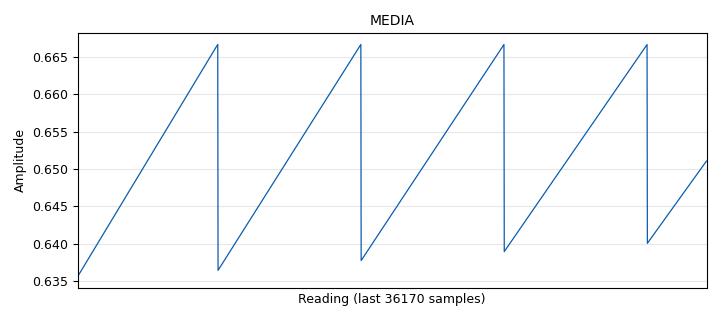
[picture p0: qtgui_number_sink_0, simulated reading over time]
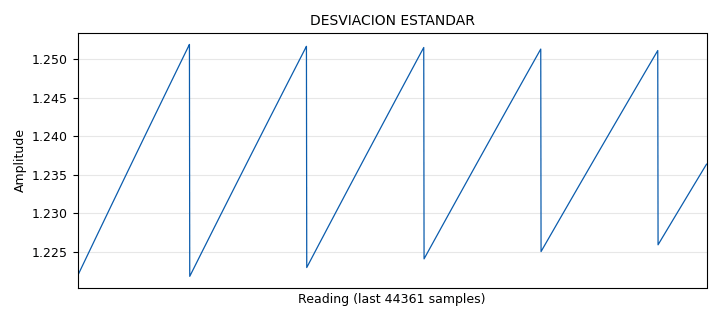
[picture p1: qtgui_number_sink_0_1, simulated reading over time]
options:
  parameters:
    generate_options: qt_gui
    generator_class_name: PythonQtGuiGenerator
    generator_module: gnuradio.grc.workflows.python_qt_gui
    id: ESTADISTICO
    output_language: python
    title: Not titled yet
  states: {}

blocks:
- name: samp_rate
  id: variable
  parameters:
    value: '32000'
  states: {}
- name: blocks_vector_source_x_0
  id: blocks_vector_source_x
  parameters:
    repeat: 'True'
    type: float
    vector: (1, 2, -1)
  states: {}
- name: epy_block_0
  id: epy_block
  parameters:
    _source_code: |
      import numpy as np
      from gnuradio import gr

      class blk(gr.sync_block):
          def __init__(self): # only default arguments here
              gr.sync_block.__init__(
                  self,
                  name='Promedios_de_tiempos', # will show up in GRC
                  in_sig=[np.float32],
                  out_sig=[np.float32, np.float32, np.float32, np.float32, np.float32]
              )
              self.acum_anterior = 0
              self.Ntotales = 0
              self.acum_anterior1 = 0
              self.acum_anterior2 = 0

          def work(self, input_items, output_items):
              x = input_items[0] # Senial de entrada .
              y0 = output_items[0] # Promedio de la senial
              y1 = output_items[1] # Media de la senial
              y2 = output_items[2] # RMS de la senial
              y3 = output_items[3] # Potencia promedio de la senial
              y4 = output_items[4] # Desviacion estandar de la senial

              # Calculo del promedio
              N = len(x)
              self.Ntotales = self.Ntotales + N
              acumulado = self.acum_anterior + np.cumsum(x)
              self.acum_anterior = acumulado[N - 1]
              y0[:] = acumulado / self.Ntotales

              # Calculo de la media cuadratica
              x2 = np.multiply(x, x)
              acumulado1 = self.acum_anterior1 + np.cumsum(x2)
              self.acum_anterior1 = acumulado[N - 1]
              y1[:] = acumulado1 / self.Ntotales

              # Calculo de la RMS
              y2[:] = np.sqrt(y1)

              # Calculo de la potencia promedio
              y3[:] = np.multiply(y2, y2)

              # Calculo de la desviacion estandar
              x3 = np.multiply(x - y0, x - y0)
              acumulado2 = self.acum_anterior2 + np.cumsum(x3)
              self.acum_anterior2 = acumulado2[N - 1]
              y4[:] = np.sqrt(acumulado2 / self.Ntotales)

              return len(x)
  states: {}
- name: qtgui_number_sink_0
  id: qtgui_number_sink
  parameters:
    graph_type: qtgui.NUM_GRAPH_HORIZ
    name: '"MEDIA"'
    type: float
  states: {}
- name: qtgui_number_sink_0_1
  id: qtgui_number_sink
  parameters:
    graph_type: qtgui.NUM_GRAPH_HORIZ
    name: '"DESVIACION ESTANDAR "'
    type: float
  states: {}
- name: qtgui_number_sink_0_2
  id: qtgui_number_sink
  parameters:
    graph_type: qtgui.NUM_GRAPH_HORIZ
    name: '"POTENCIA PROMEDIO"'
    type: float
  states: {}
- name: qtgui_number_sink_0_3
  id: qtgui_number_sink
  parameters:
    graph_type: qtgui.NUM_GRAPH_HORIZ
    name: '"MEDIA CUADRATICA"'
    type: float
  states: {}
- name: qtgui_number_sink_0_4
  id: qtgui_number_sink
  parameters:
    graph_type: qtgui.NUM_GRAPH_HORIZ
    name: '"RMS"'
    type: float
  states: {}

connections:
- [blocks_vector_source_x_0, '0', epy_block_0, '0']
- [epy_block_0, '0', qtgui_number_sink_0, '0']
- [epy_block_0, '1', qtgui_number_sink_0_3, '0']
- [epy_block_0, '2', qtgui_number_sink_0_4, '0']
- [epy_block_0, '3', qtgui_number_sink_0_2, '0']
- [epy_block_0, '4', qtgui_number_sink_0_1, '0']

metadata:
  file_format: 1
  grc_version: 3.10.12.0
